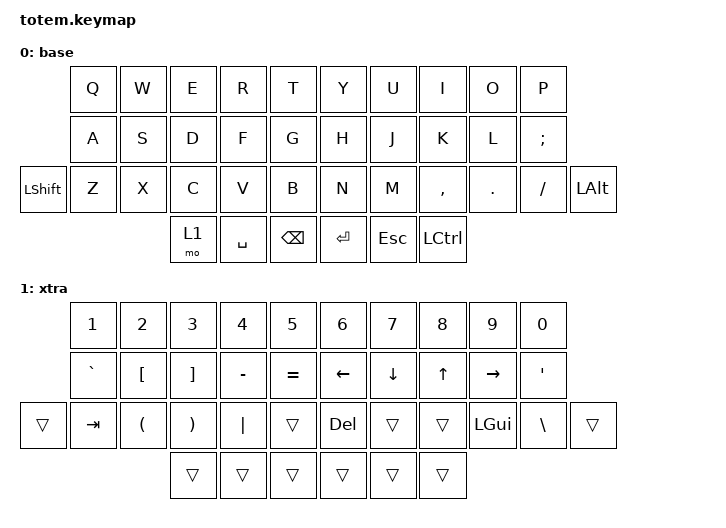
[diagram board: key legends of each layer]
//
//                                                        ▀▀▀▀▀     ▀▀▀▀▀          ▀▀█▀▀
//                                                        ▄▀▀▀▄  ▄  ▄▀▀▀▄  ▄  ▄▀▀▀▄  █  ▄▀▀▀▄
//                                                        █   █  █  █   █  █  █   █  █  █   █
//                                                         ▀▀▀   █   ▀▀▀   █   ▀▀▀   ▀   ▀▀▀
//                                                               █      ▄▄▄█▄▄▄    █   █  
//                                                               ▀      █  █  █     █▄█
//                                                             ▀▀▀▀▀    █  █  █      ▀
//                                                                      ▀  ▀  ▀
//
// ▄▄▄▄▄▄▄▄▄▄▄▄▄▄▄▄▄▄▄▄▄▄▄▄▄▄▄▄▄▄▄▄▄▄▄▄▄▄▄▄▄▄▄▄▄▄▄▄▄▄▄▄▄▄▄▄▄▄▄▄▄▄▄▄▄▄▄▄▄▄▄▄▄▄▄▄▄▄▄▄▄▄▄▄▄▄▄▄▄▄▄▄▄▄▄▄▄▄▄▄▄▄▄▄▄▄▄▄▄▄▄▄▄▄▄▄▄▄▄▄▄▄▄▄▄▄▄▄▄▄▄▄▄▄▄▄▄▄▄▄▄▄▄▄▄▄▄▄▄

#include <behaviors.dtsi>
#include <dt-bindings/zmk/keys.h>

/ {
    keymap {
        compatible = "zmk,keymap";

        base {
            bindings = <
                &kp Q  &kp W  &kp E  &kp R      &kp T            &kp Y      &kp U       &kp I             &kp O    &kp P
                &kp A  &kp S  &kp D  &kp F      &kp G            &kp H      &kp J       &kp K             &kp L    &kp SEMI
&kp LEFT_SHIFT  &kp Z  &kp X  &kp C  &kp V      &kp B            &kp N      &kp M       &kp COMMA         &kp DOT  &kp FSLH  &kp LEFT_ALT
                              &mo 1  &kp SPACE  &kp BACKSPACE    &kp ENTER  &kp ESCAPE  &kp LEFT_CONTROL
            >;
        };

        xtra {
            bindings = <
        &kp NUMBER_1  &kp N2                &kp N3                 &kp N4     &kp N5       &kp N6          &kp N7          &kp N8        &kp N9           &kp N0
        &kp GRAVE     &kp LBKT              &kp RBKT               &kp MINUS  &kp EQUAL    &kp LEFT_ARROW  &kp DOWN_ARROW  &kp UP_ARROW  &kp RIGHT_ARROW  &kp APOS
&trans  &kp TAB       &kp LEFT_PARENTHESIS  &kp RIGHT_PARENTHESIS  &kp PIPE   &trans       &kp DELETE      &trans          &trans        &kp LEFT_GUI     &kp BACKSLASH  &trans
                                            &trans                 &trans     &trans       &trans          &trans          &trans
            >;
        };
    };

    conditional_layers { compatible = "zmk,conditional-layers"; };
};
